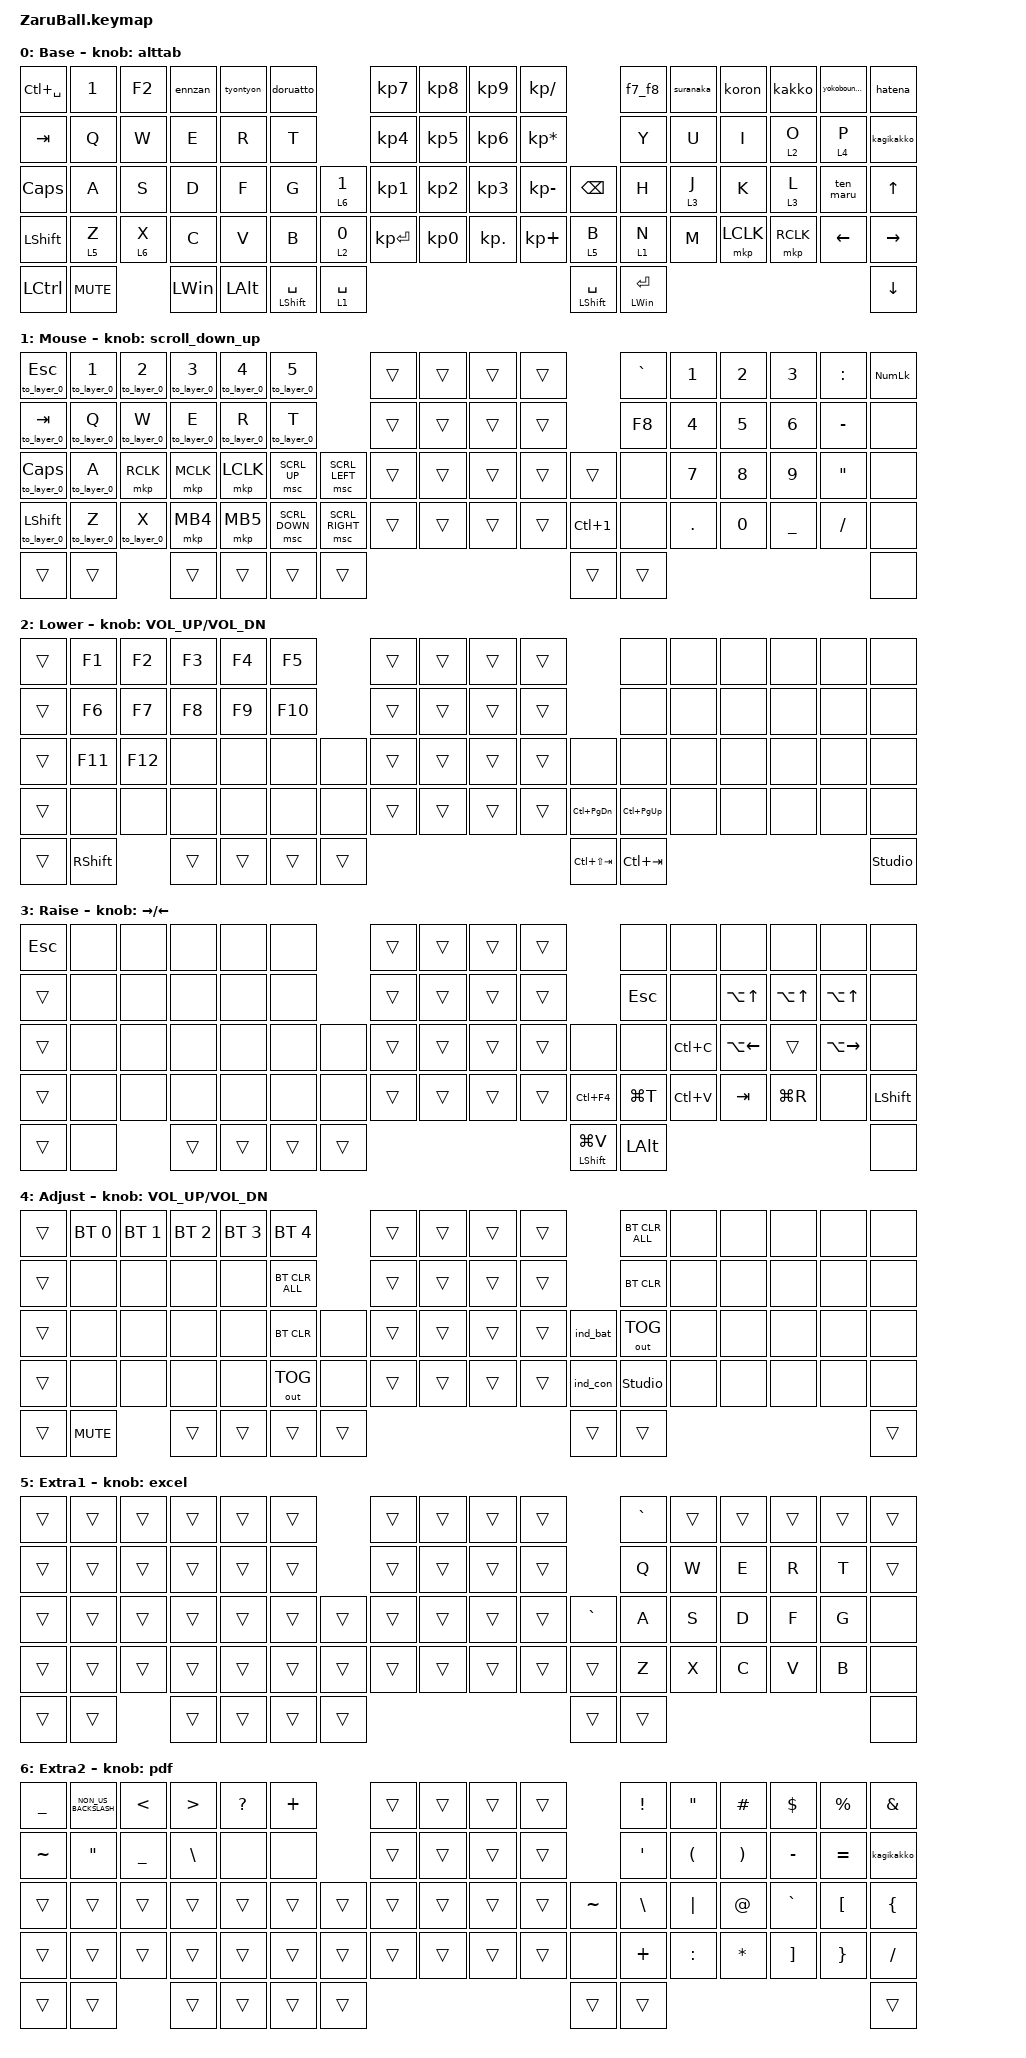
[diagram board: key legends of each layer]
//#include <dt-bindings/zmk/mouse.h>

#include <behaviors/rgbled_widget.dtsi>
#include <behaviors/naginata.dtsi>
#include <behaviors.dtsi>
#include <dt-bindings/zmk/bt.h>
#include <dt-bindings/zmk/keys.h>
#include <dt-bindings/zmk/outputs.h>
#include <dt-bindings/zmk/pointing.h>

#define BASE     0
#define MOUSE    1
#define LOWER    2
#define RAISE    3
#define ADJUST   4
#define SCROLL   2

// スクロール量の設定

#define ZMK_POINTING_DEFAULT_SCRL_VAL 100

/ {
    conditional_layers {
        compatible = "zmk,conditional-layers";

        tri_layer {
            if-layers = <2 3>;
            then-layer = <4>;
        };
    };
};

/ {
    behaviors {
        // スクロール用のbehaviorの設定

        scroll_down_up: behavior_sensor_rotate_mouse_wheel_down_up {
            compatible = "zmk,behavior-sensor-rotate";
            #sensor-binding-cells = <0>;
            bindings = <&msc SCRL_DOWN>, <&msc SCRL_UP>;

            tap-ms = <20>; // スクロールのタップ時間
        };

        td0: tap_dance_0 {
            compatible = "zmk,behavior-tap-dance";
            #binding-cells = <0>;
            tapping-term-ms = <200>;
            bindings = <&mt LALT LANG2>, <&mo RAISE>, <&mo MOUSE>;
        };

        td1: tap_dance_1 {
            compatible = "zmk,behavior-tap-dance";
            #binding-cells = <0>;
            tapping-term-ms = <200>;
            bindings = <&mt RCTL LANG1>, <&mo RAISE>, <&mo MOUSE>;
        };

        // Customed Hold-Tap for SandS

        SandS: SandS {
            compatible = "zmk,behavior-hold-tap";
            #binding-cells = <2>;
            flavor = "tap-unless-interrupted";
            tapping-term-ms = <500>;
            quick-tap-ms = <500>;
            bindings = <&kp>, <&kp>;

            display-name = "SandS";
        };

        rclk_wds: rclk_wds {
            compatible = "zmk,behavior-hold-tap";
            label = "RCLK_WDS";
            bindings = <&wds>, <&rclk>;

            #binding-cells = <2>;
            tapping-term-ms = <230>;
            flavor = "tap-preferred";
            hold-trigger-key-positions = <67 76 49>;
        };

        ten_maru: ten_maru {
            compatible = "zmk,behavior-tap-dance";
            label = "TEN_MARU";
            #binding-cells = <0>;
            bindings = <&kp COMMA>, <&kp PERIOD>;
        };

        f7_f8: f7_f8 {
            compatible = "zmk,behavior-tap-dance";
            label = "F7_F8";
            #binding-cells = <0>;
            bindings = <&kp F7>, <&kp F8>, <&kp F9>;
        };

        kagikakko: kagikakko {
            compatible = "zmk,behavior-tap-dance";
            label = "KAGIKAKKO";
            #binding-cells = <0>;
            bindings = <&kp RIGHT_BRACKET>, <&kp BSLH>;
        };

        yokobounado: yokobounado {
            compatible = "zmk,behavior-tap-dance";
            label = "YOKOBOUNADO";
            #binding-cells = <0>;
            bindings = <&kp MINUS>, <&kp PLUS>, <&kp LS(INT_RO)>;
        };

        kakko: kakko {
            compatible = "zmk,behavior-tap-dance";
            label = "KAKKO";
            #binding-cells = <0>;
            bindings = <&lt 5 LS(N8)>, <&kp LS(N9)>;
        };

        hatena: hatena {
            compatible = "zmk,behavior-tap-dance";
            label = "HATENA";
            #binding-cells = <0>;
            bindings = <&kp QUESTION>, <&kp LS(NUMBER_1)>;
        };

        koron: koron {
            compatible = "zmk,behavior-tap-dance";
            label = "KORON";
            #binding-cells = <0>;
            bindings = <&kp SQT>, <&kp SEMICOLON>;
        };

        suranaka: suranaka {
            compatible = "zmk,behavior-tap-dance";
            label = "SURANAKA";
            #binding-cells = <0>;
            bindings = <&kp SLASH>, <&kp LS(INT_RO)>;
        };

        doruatto: doruatto {
            compatible = "zmk,behavior-tap-dance";
            label = "DORUATTO";
            #binding-cells = <0>;
            bindings = <&kp LS(NUMBER_4)>, <&kp LEFT_BRACKET>;
        };

        tyontyon: tyontyon {
            compatible = "zmk,behavior-tap-dance";
            label = "TYONTYON";
            #binding-cells = <0>;
            bindings = <&kp AMPS>, <&kp LS(NUMBER_2)>;
        };

        ennzan: ennzan {
            compatible = "zmk,behavior-tap-dance";
            label = "ENNZAN";
            #binding-cells = <0>;
            bindings =
                <&kp COLON>,
                <&kp MINUS>,
                <&kp DOUBLE_QUOTES>,
                <&kp SLASH>;
        };

        alttab: alttab {
            compatible = "zmk,behavior-sensor-rotate";
            label = "ALTTAB";
            #sensor-binding-cells = <0>;
            bindings = <&kp LA(LS(TAB))>, <&kp LA(TAB)>;

            tap-ms = <3>;
        };

        excel: excel {
            compatible = "zmk,behavior-sensor-rotate";
            label = "EXCEL";
            #sensor-binding-cells = <0>;
            bindings = <&kp LC(PAGE_DOWN)>, <&kp LC(PAGE_UP)>;

            tap-ms = <3>;
        };

        pdf: pdf {
            compatible = "zmk,behavior-sensor-rotate";
            label = "PDF";
            #sensor-binding-cells = <0>;
            bindings = <&kp LC(LS(TAB))>, <&kp LC(TAB)>;

            tap-ms = <3>;
        };
    };
};

&sl { release-after-ms = <250>; }; // time needed for double click (for mkp_exit_AML)
/ {
    macros {
        // When in AML, move to default layer when key (except mouse button) pressed

        to_layer_0: to_layer_0 {
            compatible = "zmk,behavior-macro-one-param";
            #binding-cells = <1>;
            bindings = <&tog MOUSE &macro_param_1to1 &kp MACRO_PLACEHOLDER>;
            label = "TO_layer_0";
        };

        // When LCLK pressed, exit AML (after 250ms cause by sticky layer

        mkp_exit_AML: mkp_exit_AML {
            compatible = "zmk,behavior-macro-one-param";
            #binding-cells = <1>;
            bindings =
                <&macro_press>,
                <&macro_param_1to1 &mkp MACRO_PLACEHOLDER>,
                <&macro_pause_for_release>,
                <&macro_release>,
                <&macro_param_1to1 &mkp MACRO_PLACEHOLDER>,
                <&macro_tap>,
                <&sl MOUSE>;

            label = "MKP_EXIT_AML";
        };

        rclk: new_macro {
            compatible = "zmk,behavior-macro";
            #binding-cells = <0>;
            bindings = <&mkp RCLK>;
            label = "NEW_MACRO";
        };

        wds: wds {
            compatible = "zmk,behavior-macro";
            #binding-cells = <0>;
            bindings = <&kp LEFT_WIN>;
            label = "WDS";
        };
    };
};

/ {
    combos {
        compatible = "zmk,combos";

        backspace {
            bindings = <&kp BACKSPACE>;
            key-positions = <75 74>;
        };

        esc {
            bindings = <&kp ESCAPE>;
            key-positions = <16 0>;
        };

        del {
            bindings = <&kp DELETE>;
            key-positions = <43 75>;
        };

        ctr {
            bindings = <&kp LCTRL>;
            key-positions = <67 76>;
        };
    };

    keymap {
        compatible = "zmk,keymap";

        base_layer {
            display-name = "Base";
            sensor-bindings = <&alttab>;
            bindings = <
&kp LC(SPACE)  &kp N1      &kp F2   &ennzan   &tyontyon     &doruatto                          &kp KP_N7     &kp KP_N8  &kp KP_N9   &kp KP_DIVIDE                            &f7_f8              &suranaka  &koron     &kakko     &yokobounado  &hatena
&kp TAB        &kp Q       &kp W    &kp E     &kp R         &kp T                              &kp KP_N4     &kp KP_N5  &kp KP_N6   &kp KP_MULTIPLY                          &kp Y               &kp U      &kp I      &lt 2 O    &lt 4 P       &kagikakko
&kp CAPS       &kp A       &kp S    &kp D     &kp F         &kp G            &lt 6 NUMBER_1    &kp KP_N1     &kp KP_N2  &kp KP_N3   &kp KP_MINUS       &kp BACKSPACE         &kp H               &lt 3 J    &kp K      &lt 3 L    &ten_maru     &kp UP_ARROW
&kp LSHFT      &lt 5 Z     &lt 6 X  &kp C     &kp V         &kp B            &lt 2 N0          &kp KP_ENTER  &kp KP_N0  &kp KP_DOT  &kp KP_PLUS        &lt 5 B               &lt 1 N             &kp M      &mkp LCLK  &mkp RCLK  &kp LEFT      &kp RIGHT
&kp LCTRL      &kp C_MUTE           &kp LWIN  &kp LEFT_ALT  &mt LSHFT SPACE  &lt 1 SPACE                                                               &mt LEFT_SHIFT SPACE  &mt LEFT_WIN ENTER                                                 &kp DOWN
            >;
        };

        mouse_layer {
            display-name = "Mouse";
            sensor-bindings = <&scroll_down_up>;
            bindings = <
&to_layer_0 ESC     &to_layer_0 N1  &to_layer_0 N2  &to_layer_0 N3  &to_layer_0 N4  &to_layer_0 N5                     &trans  &trans  &trans  &trans                      &kp GRAVE  &kp NUMBER_1  &kp NUMBER_2  &kp NUMBER_3    &kp COLON          &kp KP_NUMLOCK
&to_layer_0 TAB     &to_layer_0 Q   &to_layer_0 W   &to_layer_0 E   &to_layer_0 R   &to_layer_0 T                      &trans  &trans  &trans  &trans                      &kp F8     &kp NUMBER_4  &kp N5        &kp NUMBER_6    &kp MINUS          &none
&to_layer_0 CAPS    &to_layer_0 A   &mkp RCLK       &mkp MCLK       &mkp LCLK       &msc SCRL_UP    &msc SCRL_LEFT     &trans  &trans  &trans  &trans    &trans            &none      &kp N7        &kp N8        &kp N9          &kp DOUBLE_QUOTES  &none
&to_layer_0 LSHIFT  &to_layer_0 Z   &to_layer_0 X   &mkp MB4        &mkp MB5        &msc SCRL_DOWN  &msc SCRL_RIGHT    &trans  &trans  &trans  &trans    &kp LC(NUMBER_1)  &none      &kp PERIOD    &kp N0        &kp UNDERSCORE  &kp SLASH          &none
&trans              &trans                          &trans          &trans          &trans          &trans                                               &trans            &trans                                                                    &none
            >;
        };

        lower_layer {
            display-name = "Lower";
            sensor-bindings = <&inc_dec_kp C_VOL_UP C_VOL_DN>;
            bindings = <
&trans  &kp F1     &kp F2   &kp F3  &kp F4  &kp F5             &trans  &trans  &trans  &trans                       &none            &none  &none  &none  &none  &none
&trans  &kp F6     &kp F7   &kp F8  &kp F9  &kp F10            &trans  &trans  &trans  &trans                       &none            &none  &none  &none  &none  &none
&trans  &kp F11    &kp F12  &none   &none   &none    &none     &trans  &trans  &trans  &trans    &none              &none            &none  &none  &none  &none  &none
&trans  &none      &none    &none   &none   &none    &none     &trans  &trans  &trans  &trans    &kp LC(PAGE_DOWN)  &kp LC(PAGE_UP)  &none  &none  &none  &none  &none
&trans  &kp RSHFT           &trans  &trans  &trans   &trans                                      &kp LC(LS(TAB))    &kp LC(TAB)                                  &studio_unlock
            >;
        };

        raise_layer {
            display-name = "Raise";
            sensor-bindings = <&inc_dec_kp RIGHT LEFT>;
            bindings = <
&kp ESCAPE  &none  &none  &none   &none   &none             &trans  &trans  &trans  &trans                          &none         &none      &none             &none             &none             &none
&trans      &none  &none  &none   &none   &none             &trans  &trans  &trans  &trans                          &kp ESCAPE    &none      &kp LA(UP_ARROW)  &kp LA(UP_ARROW)  &kp LA(UP_ARROW)  &none
&trans      &none  &none  &none   &none   &none   &none     &trans  &trans  &trans  &trans    &none                 &none         &kp LC(C)  &kp LA(LEFT)      &trans            &kp LA(RIGHT)     &none
&trans      &none  &none  &none   &none   &none   &none     &trans  &trans  &trans  &trans    &kp LC(F4)            &kp LG(T)     &kp LC(V)  &kp TAB           &kp LG(R)         &none             &kp LEFT_SHIFT
&trans      &none         &trans  &trans  &trans  &trans                                      &mt LEFT_SHIFT LG(V)  &kp LEFT_ALT                                                                   &none
            >;
        };

        adjust_layer {
            display-name = "Adjust";
            sensor-bindings = <&inc_dec_kp C_VOL_UP C_VOL_DN>;
            bindings = <
&trans  &bt BT_SEL 0  &bt BT_SEL 1  &bt BT_SEL 2  &bt BT_SEL 3  &bt BT_SEL 4              &trans  &trans  &trans  &trans              &bt BT_CLR_ALL  &none  &none  &none  &none  &none
&trans  &none         &none         &none         &none         &bt BT_CLR_ALL            &trans  &trans  &trans  &trans              &bt BT_CLR      &none  &none  &none  &none  &none
&trans  &none         &none         &none         &none         &bt BT_CLR      &none     &trans  &trans  &trans  &trans    &ind_bat  &out OUT_TOG    &none  &none  &none  &none  &none
&trans  &none         &none         &none         &none         &out OUT_TOG    &none     &trans  &trans  &trans  &trans    &ind_con  &studio_unlock  &none  &none  &none  &none  &none
&trans  &kp C_MUTE                  &trans        &trans        &trans          &trans                                      &trans    &trans                                      &trans
            >;
        };

        extra1 {
            display-name = "Extra1";
            bindings = <
&trans  &trans  &trans  &trans  &trans  &trans            &trans  &trans  &trans  &trans               &kp GRAVE  &trans  &trans  &trans  &trans  &trans
&trans  &trans  &trans  &trans  &trans  &trans            &trans  &trans  &trans  &trans               &kp Q      &kp W   &kp E   &kp R   &kp T   &trans
&trans  &trans  &trans  &trans  &trans  &trans  &trans    &trans  &trans  &trans  &trans    &kp GRAVE  &kp A      &kp S   &kp D   &kp F   &kp G   &none
&trans  &trans  &trans  &trans  &trans  &trans  &trans    &trans  &trans  &trans  &trans    &trans     &kp Z      &kp X   &kp C   &kp V   &kp B   &none
&trans  &trans          &trans  &trans  &trans  &trans                                      &trans     &trans                                     &none
            >;

            sensor-bindings = <&excel>;
        };

        extra2 {
            display-name = "Extra2";
            bindings = <
&kp UNDERSCORE  &kp NON_US_BACKSLASH  &kp LESS_THAN   &kp GREATER_THAN  &kp QUESTION  &kp PLUS            &trans  &trans  &trans  &trans               &kp EXCLAMATION  &kp DOUBLE_QUOTES     &kp HASH               &kp DOLLAR         &kp PERCENT       &kp AMPERSAND
&kp TILDE       &kp DOUBLE_QUOTES     &kp UNDERSCORE  &kp BSLH          &none         &none               &trans  &trans  &trans  &trans               &kp SQT          &kp LEFT_PARENTHESIS  &kp RIGHT_PARENTHESIS  &kp MINUS          &kp EQUAL         &kagikakko
&trans          &trans                &trans          &trans            &trans        &trans    &trans    &trans  &trans  &trans  &trans    &kp TILDE  &kp BSLH         &kp PIPE              &kp AT_SIGN            &kp GRAVE          &kp LEFT_BRACKET  &kp LEFT_BRACE
&trans          &trans                &trans          &trans            &trans        &trans    &trans    &trans  &trans  &trans  &trans    &none      &kp PLUS         &kp COLON             &kp ASTERISK           &kp RIGHT_BRACKET  &kp RIGHT_BRACE   &kp SLASH
&trans          &trans                                &trans            &trans        &trans    &trans                                      &trans     &trans                                                                                             &trans
            >;

            sensor-bindings = <&pdf>;
        };
    };
};
